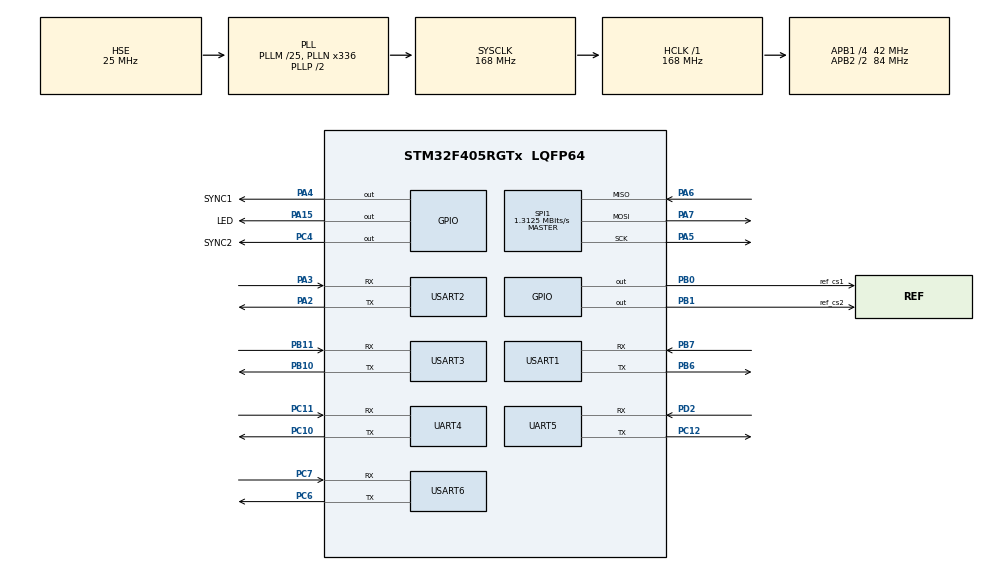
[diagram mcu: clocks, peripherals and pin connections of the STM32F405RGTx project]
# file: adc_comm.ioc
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Dma.Request0=UART4_RX
Dma.Request1=UART5_RX
Dma.Request2=USART1_RX
Dma.Request3=USART2_RX
Dma.Request4=USART6_RX
Dma.Request5=USART6_TX
Dma.UART4_RX.0.Direction=DMA_PERIPH_TO_MEMORY
Dma.UART4_RX.0.FIFOMode=DMA_FIFOMODE_DISABLE
Dma.UART4_RX.0.Instance=DMA1_Stream2
Dma.UART4_RX.0.MemDataAlignment=DMA_MDATAALIGN_BYTE
Dma.UART4_RX.0.MemInc=DMA_MINC_ENABLE
Dma.UART4_RX.0.Mode=DMA_NORMAL
Dma.UART4_RX.0.PeriphDataAlignment=DMA_PDATAALIGN_BYTE
Dma.UART4_RX.0.PeriphInc=DMA_PINC_DISABLE
Dma.UART4_RX.0.Priority=DMA_PRIORITY_LOW
Dma.UART5_RX.1.Direction=DMA_PERIPH_TO_MEMORY
Dma.UART5_RX.1.FIFOMode=DMA_FIFOMODE_DISABLE
Dma.UART5_RX.1.Instance=DMA1_Stream0
Dma.UART5_RX.1.MemDataAlignment=DMA_MDATAALIGN_BYTE
Dma.UART5_RX.1.MemInc=DMA_MINC_ENABLE
Dma.UART5_RX.1.Mode=DMA_NORMAL
Dma.UART5_RX.1.PeriphDataAlignment=DMA_PDATAALIGN_BYTE
Dma.UART5_RX.1.PeriphInc=DMA_PINC_DISABLE
Dma.UART5_RX.1.Priority=DMA_PRIORITY_LOW
Dma.USART1_RX.2.Direction=DMA_PERIPH_TO_MEMORY
Dma.USART1_RX.2.FIFOMode=DMA_FIFOMODE_DISABLE
Dma.USART1_RX.2.Instance=DMA2_Stream2
Dma.USART1_RX.2.MemDataAlignment=DMA_MDATAALIGN_BYTE
Dma.USART1_RX.2.MemInc=DMA_MINC_ENABLE
Dma.USART1_RX.2.Mode=DMA_NORMAL
Dma.USART1_RX.2.PeriphDataAlignment=DMA_PDATAALIGN_BYTE
Dma.USART1_RX.2.PeriphInc=DMA_PINC_DISABLE
Dma.USART1_RX.2.Priority=DMA_PRIORITY_LOW
Dma.USART2_RX.3.Direction=DMA_PERIPH_TO_MEMORY
Dma.USART2_RX.3.FIFOMode=DMA_FIFOMODE_DISABLE
Dma.USART2_RX.3.Instance=DMA1_Stream5
Dma.USART2_RX.3.MemDataAlignment=DMA_MDATAALIGN_BYTE
Dma.USART2_RX.3.MemInc=DMA_MINC_ENABLE
Dma.USART2_RX.3.Mode=DMA_NORMAL
Dma.USART2_RX.3.PeriphDataAlignment=DMA_PDATAALIGN_BYTE
Dma.USART2_RX.3.PeriphInc=DMA_PINC_DISABLE
Dma.USART2_RX.3.Priority=DMA_PRIORITY_LOW
Dma.USART6_RX.4.Direction=DMA_PERIPH_TO_MEMORY
Dma.USART6_RX.4.FIFOMode=DMA_FIFOMODE_DISABLE
Dma.USART6_RX.4.Instance=DMA2_Stream1
Dma.USART6_RX.4.MemDataAlignment=DMA_MDATAALIGN_BYTE
Dma.USART6_RX.4.MemInc=DMA_MINC_ENABLE
Dma.USART6_RX.4.Mode=DMA_NORMAL
Dma.USART6_RX.4.PeriphDataAlignment=DMA_PDATAALIGN_BYTE
Dma.USART6_RX.4.PeriphInc=DMA_PINC_DISABLE
Dma.USART6_RX.4.Priority=DMA_PRIORITY_LOW
Dma.USART6_TX.5.Direction=DMA_MEMORY_TO_PERIPH
Dma.USART6_TX.5.FIFOMode=DMA_FIFOMODE_DISABLE
Dma.USART6_TX.5.Instance=DMA2_Stream6
Dma.USART6_TX.5.MemDataAlignment=DMA_MDATAALIGN_BYTE
Dma.USART6_TX.5.MemInc=DMA_MINC_ENABLE
Dma.USART6_TX.5.Mode=DMA_NORMAL
Dma.USART6_TX.5.PeriphDataAlignment=DMA_PDATAALIGN_BYTE
Dma.USART6_TX.5.PeriphInc=DMA_PINC_DISABLE
Dma.USART6_TX.5.Priority=DMA_PRIORITY_LOW
FREERTOS.Tasks01=defaultTask,24,256,StartDefaultTask,Default,NULL,Dynamic,NULL,NULL
FREERTOS.configMINIMAL_STACK_SIZE=256
FREERTOS.configUSE_NEWLIB_REENTRANT=1
Mcu.Family=STM32F4
Mcu.Name=STM32F405RGTx
Mcu.Package=LQFP64
NVIC.DMA1_Stream0_IRQn=true\:5\:0\:false\:false\:true\:true\:false\:true\:true
NVIC.DMA1_Stream2_IRQn=true\:5\:0\:false\:false\:true\:true\:false\:true\:true
NVIC.DMA1_Stream5_IRQn=true\:5\:0\:false\:false\:true\:true\:false\:true\:true
NVIC.DMA2_Stream1_IRQn=true\:5\:0\:false\:false\:true\:true\:false\:true\:true
NVIC.DMA2_Stream2_IRQn=true\:5\:0\:false\:false\:true\:true\:false\:true\:true
NVIC.DMA2_Stream6_IRQn=true\:5\:0\:false\:false\:true\:true\:false\:true\:true
NVIC.PriorityGroup=NVIC_PRIORITYGROUP_4
NVIC.TIM2_IRQn=true\:15\:0\:false\:false\:true\:false\:false\:true\:true
NVIC.TimeBase=TIM2_IRQn
NVIC.TimeBaseIP=TIM2
NVIC.UART4_IRQn=true\:5\:0\:false\:false\:true\:true\:true\:true\:true
NVIC.UART5_IRQn=true\:5\:0\:false\:false\:true\:true\:true\:true\:true
NVIC.USART1_IRQn=true\:5\:0\:false\:false\:true\:true\:true\:true\:true
NVIC.USART2_IRQn=true\:5\:0\:false\:false\:true\:true\:true\:true\:true
NVIC.USART3_IRQn=true\:5\:0\:false\:false\:true\:true\:true\:true\:true
NVIC.USART6_IRQn=true\:5\:0\:false\:false\:true\:true\:true\:true\:true
PA13.Mode=Serial_Wire
PA13.Signal=SYS_JTMS-SWDIO
PA14.Mode=Serial_Wire
PA14.Signal=SYS_JTCK-SWCLK
PA15.GPIO_Label=LED
PA15.Signal=GPIO_Output
PA2.Mode=Asynchronous
PA2.Signal=USART2_TX
PA3.Mode=Asynchronous
PA3.Signal=USART2_RX
PA4.GPIO_Label=SYNC1
PA4.Signal=GPIO_Output
PA5.Mode=Full_Duplex_Master
PA5.Signal=SPI1_SCK
PA6.Mode=Full_Duplex_Master
PA6.Signal=SPI1_MISO
PA7.Mode=Full_Duplex_Master
PA7.Signal=SPI1_MOSI
PB0.GPIO_Label=ref_cs1
PB0.Signal=GPIO_Output
PB1.GPIO_Label=ref_cs2
PB1.Signal=GPIO_Output
PB10.Mode=Asynchronous
PB10.Signal=USART3_TX
PB11.Mode=Asynchronous
PB11.Signal=USART3_RX
PB6.Mode=Asynchronous
PB6.Signal=USART1_TX
PB7.Mode=Asynchronous
PB7.Signal=USART1_RX
PC10.Mode=Asynchronous
PC10.Signal=UART4_TX
PC11.Mode=Asynchronous
PC11.Signal=UART4_RX
PC12.Mode=Asynchronous
PC12.Signal=UART5_TX
PC4.GPIO_Label=SYNC2
PC4.Signal=GPIO_Output
PC6.Mode=Asynchronous
PC6.Signal=USART6_TX
PC7.Mode=Asynchronous
PC7.Signal=USART6_RX
PD2.Mode=Asynchronous
PD2.Signal=UART5_RX
PH0-OSC_IN.Mode=HSE-External-Oscillator
PH0-OSC_IN.Signal=RCC_OSC_IN
PH1-OSC_OUT.Mode=HSE-External-Oscillator
PH1-OSC_OUT.Signal=RCC_OSC_OUT
ProjectManager.HeapSize=0x200
ProjectManager.StackSize=0x400
ProjectManager.TargetToolchain=STM32CubeIDE
RCC.48MHZClocksFreq_Value=84000000
RCC.AHBFreq_Value=168000000
RCC.APB1CLKDivider=RCC_HCLK_DIV4
RCC.APB1Freq_Value=42000000
RCC.APB1TimFreq_Value=84000000
RCC.APB2CLKDivider=RCC_HCLK_DIV2
RCC.APB2Freq_Value=84000000
RCC.APB2TimFreq_Value=168000000
RCC.CortexFreq_Value=168000000
RCC.HCLKFreq_Value=168000000
RCC.HSE_VALUE=25000000
RCC.HSI_VALUE=16000000
RCC.LSE_VALUE=32768
RCC.PLLM=25
RCC.PLLN=336
RCC.PLLSourceVirtual=RCC_PLLSOURCE_HSE
RCC.SYSCLKFreq_VALUE=168000000
RCC.SYSCLKSource=RCC_SYSCLKSOURCE_PLLCLK
RCC.VCOOutputFreq_Value=336000000
SPI1.BaudRatePrescaler=SPI_BAUDRATEPRESCALER_64
SPI1.CLKPolarity=SPI_POLARITY_HIGH
SPI1.CalculateBaudRate=1.3125 MBits/s
SPI1.Direction=SPI_DIRECTION_2LINES
SPI1.Mode=SPI_MODE_MASTER
SPI1.VirtualType=VM_MASTER
UART4.VirtualMode=Asynchronous
UART5.VirtualMode=Asynchronous
USART1.VirtualMode=VM_ASYNC
USART2.VirtualMode=VM_ASYNC
USART3.VirtualMode=VM_ASYNC
USART6.VirtualMode=VM_ASYNC
VP_FREERTOS_VS_CMSIS_V2.Mode=CMSIS_V2
VP_SYS_VS_tim2.Mode=TIM2
VP_TIM3_VS_ClockSourceINT.Mode=Internal
VP_TIM4_VS_ClockSourceINT.Mode=Internal
board=custom

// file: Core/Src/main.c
/* USER CODE BEGIN Header */
/**
  ******************************************************************************
  * @file           : main.c
  * @brief          : Main program body
  ******************************************************************************
  * @attention
  *
  * Copyright (c) 2025 STMicroelectronics.
  * All rights reserved.
  *
  * This software is licensed under terms that can be found in the LICENSE file
  * in the root directory of this software component.
  * If no LICENSE file comes with this software, it is provided AS-IS.
  *
  ******************************************************************************
  */
/* USER CODE END Header */
#include "main.h"
#include "cmsis_os.h"
#include "dma.h"
#include "spi.h"
#include "tim.h"
#include "usart.h"
#include "gpio.h"

/* USER CODE BEGIN Includes */
#include "debug_shell.h"
#include "modbus_master.h"
#include "modbus_slave.h"
#include "sample_control.h"
#include "debug_commands.h"
/* USER CODE END Includes */

void SystemClock_Config(void);
void MX_FREERTOS_Init(void);

int main(void)
{

  /* MCU Configuration--------------------------------------------------------*/

  /* Reset of all peripherals, Initializes the Flash interface and the Systick. */
  HAL_Init();

  /* Configure the system clock */
  SystemClock_Config();

  /* Initialize all configured peripherals */
  MX_GPIO_Init();
  MX_DMA_Init();
  MX_TIM3_Init();
  MX_TIM4_Init();
  MX_USART1_UART_Init();
  MX_USART2_UART_Init();
  MX_SPI1_Init();
  MX_UART4_Init();
  MX_UART5_Init();
  MX_USART3_UART_Init();
  MX_USART6_UART_Init();
  /* USER CODE BEGIN 2 */
  Shell_Init();
  MB_Master_Init();
  MB_Slave_Init();
  SampleCtrl_Init();
  registerDebugCommands();
  /* USER CODE END 2 */

  /* Init scheduler */
  osKernelInitialize();  /* Call init function for freertos objects (in cmsis_os2.c) */
  MX_FREERTOS_Init();

  /* Start scheduler */
  osKernelStart();

  /* We should never get here as control is now taken by the scheduler */

  /* Infinite loop */
  while (1)
  {

  }
}

void SystemClock_Config(void)
{
  RCC_OscInitTypeDef RCC_OscInitStruct = {0};
  RCC_ClkInitTypeDef RCC_ClkInitStruct = {0};

  /** Configure the main internal regulator output voltage
  */
  __HAL_RCC_PWR_CLK_ENABLE();
  __HAL_PWR_VOLTAGESCALING_CONFIG(PWR_REGULATOR_VOLTAGE_SCALE1);

  /** Initializes the RCC Oscillators according to the specified parameters
  * in the RCC_OscInitTypeDef structure.
  */
  RCC_OscInitStruct.OscillatorType = RCC_OSCILLATORTYPE_HSE;
  RCC_OscInitStruct.HSEState = RCC_HSE_ON;
  RCC_OscInitStruct.PLL.PLLState = RCC_PLL_ON;
  RCC_OscInitStruct.PLL.PLLSource = RCC_PLLSOURCE_HSE;
  RCC_OscInitStruct.PLL.PLLM = 25;
  RCC_OscInitStruct.PLL.PLLN = 336;
  RCC_OscInitStruct.PLL.PLLP = RCC_PLLP_DIV2;
  RCC_OscInitStruct.PLL.PLLQ = 4;
  if (HAL_RCC_OscConfig(&RCC_OscInitStruct) != HAL_OK)
  {
    Error_Handler();
  }

  /** Initializes the CPU, AHB and APB buses clocks
  */
  RCC_ClkInitStruct.ClockType = RCC_CLOCKTYPE_HCLK|RCC_CLOCKTYPE_SYSCLK
                              |RCC_CLOCKTYPE_PCLK1|RCC_CLOCKTYPE_PCLK2;
  RCC_ClkInitStruct.SYSCLKSource = RCC_SYSCLKSOURCE_PLLCLK;
  RCC_ClkInitStruct.AHBCLKDivider = RCC_SYSCLK_DIV1;
  RCC_ClkInitStruct.APB1CLKDivider = RCC_HCLK_DIV4;
  RCC_ClkInitStruct.APB2CLKDivider = RCC_HCLK_DIV2;

  if (HAL_RCC_ClockConfig(&RCC_ClkInitStruct, FLASH_LATENCY_5) != HAL_OK)
  {
    Error_Handler();
  }
}

void HAL_TIM_PeriodElapsedCallback(TIM_HandleTypeDef *htim)
{
  if (htim->Instance == TIM2)
  {
    HAL_IncTick();
  }
}

void Error_Handler(void)
{
  __disable_irq();
  while (1)
  {
  }
}

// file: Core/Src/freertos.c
/* USER CODE BEGIN Header */
/**
  ******************************************************************************
  * File Name          : freertos.c
  * Description        : Code for freertos applications
  ******************************************************************************
  * @attention
  *
  * Copyright (c) 2025 STMicroelectronics.
  * All rights reserved.
  *
  * This software is licensed under terms that can be found in the LICENSE file
  * in the root directory of this software component.
  * If no LICENSE file comes with this software, it is provided AS-IS.
  *
  ******************************************************************************
  */
/* USER CODE END Header */

#include "FreeRTOS.h"
#include "task.h"
#include "main.h"
#include "cmsis_os.h"

/* USER CODE BEGIN Includes */
#include "debug_shell.h"
#include "sample_control.h"
#include "modbus_master.h"
#include "modbus_slave.h"
/* USER CODE END Includes */

/* Definitions for defaultTask */
osThreadId_t defaultTaskHandle;
const osThreadAttr_t defaultTask_attributes = {
  .name = "defaultTask",
  .stack_size = 256 * 4,
  .priority = (osPriority_t) osPriorityNormal,
};

void StartDefaultTask(void *argument);

void MX_FREERTOS_Init(void); /* (MISRA C 2004 rule 8.1) */

void MX_FREERTOS_Init(void) {

  /* Create the thread(s) */
  /* creation of defaultTask */
  defaultTaskHandle = osThreadNew(StartDefaultTask, NULL, &defaultTask_attributes);

  /* USER CODE BEGIN RTOS_THREADS */
  /* add threads, ... */

  Shell_StartDebugTask();
  SampleCtrl_StartTask();
  MB_Master_StartTasks();
  MB_Slave_StartTask();

  /* USER CODE END RTOS_THREADS */

}

void StartDefaultTask(void *argument)
{
  for(;;)
  {
    osDelay(1);
  }
}
